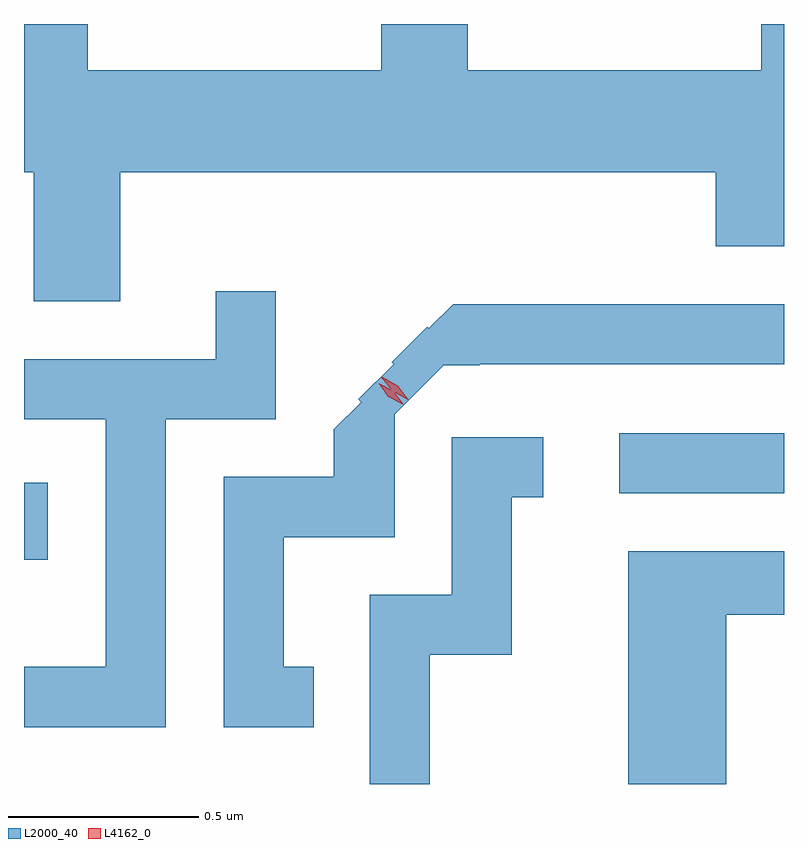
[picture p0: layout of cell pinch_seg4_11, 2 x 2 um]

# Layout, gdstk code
import gdstk
lib = gdstk.Library(unit=1e-6, precision=1e-09)
def R(c, l, rs):  # rectangles x0, y0, x1, y1
    for r in rs: c.add(gdstk.rectangle(r[:2], r[2:], *l))
def P(c, l, *ps):  # polygons
    for p in ps: c.add(gdstk.Polygon(p, *l))
L2000_40 = (2000, 40)
L4162_0 = (4162, 0)

pinch_seg4_11 = lib.new_cell('pinch_seg4_11')
R(pinch_seg4_11, L2000_40, [(860.806,1322.576,860.869,1322.779), (862.373,1322.751,862.806,1322.909)])
P(pinch_seg4_11, L2000_40, [(861.059,1323.596),(862.626,1323.596),(862.626,1323.401),(862.806,1323.401),(862.806,1323.986),(862.746,1323.986),(862.746,1323.864),(861.974,1323.864),(861.974,1323.986),(861.746,1323.986),(861.746,1323.864),(860.974,1323.864),(860.974,1323.986),(860.806,1323.986),(860.806,1323.596),(860.831,1323.596),(860.831,1323.256),(861.059,1323.256)],
  [(861.179,1322.946),(861.469,1322.946),(861.469,1323.283),(861.311,1323.283),(861.311,1323.104),(860.806,1323.104),(860.806,1322.946),(861.021,1322.946),(861.021,1322.294),(860.806,1322.294),(860.806,1322.136),(861.179,1322.136)],
  [(861.568,1322.294),(861.489,1322.294),(861.489,1322.636),(861.781,1322.636),(861.781,1322.959),(861.91,1323.088),(862.005,1323.088),(862.005,1323.091),(862.806,1323.091),(862.806,1323.249),(861.935,1323.249),(861.871,1323.185),(861.867,1323.189),(861.774,1323.096),(861.779,1323.091),(861.686,1322.998),(861.693,1322.991),(861.621,1322.919),(861.621,1322.794),(861.331,1322.794),(861.331,1322.136),(861.568,1322.136)],
  [(861.874,1322.326),(862.089,1322.326),(862.089,1322.741),(862.173,1322.741),(862.173,1322.899),(861.931,1322.899),(861.931,1322.484),(861.716,1322.484),(861.716,1321.986),(861.874,1321.986)],
  [(862.654,1322.431),(862.806,1322.431),(862.806,1322.599),(862.396,1322.599),(862.396,1321.986),(862.654,1321.986)])
P(pinch_seg4_11, L4162_0, [(861.803,1322.986),(861.765,1323.005),(861.739,1323.04),(861.739,1323.041),(861.739,1323.041),(861.778,1323.021),(861.804,1322.986),(861.804,1322.986)],
  [(861.818,1322.996),(861.776,1323.019),(861.746,1323.057),(861.746,1323.058),(861.747,1323.058),(861.789,1323.034),(861.819,1322.996),(861.819,1322.996)])

lib.write_gds('pinch_seg4_11.gds')
